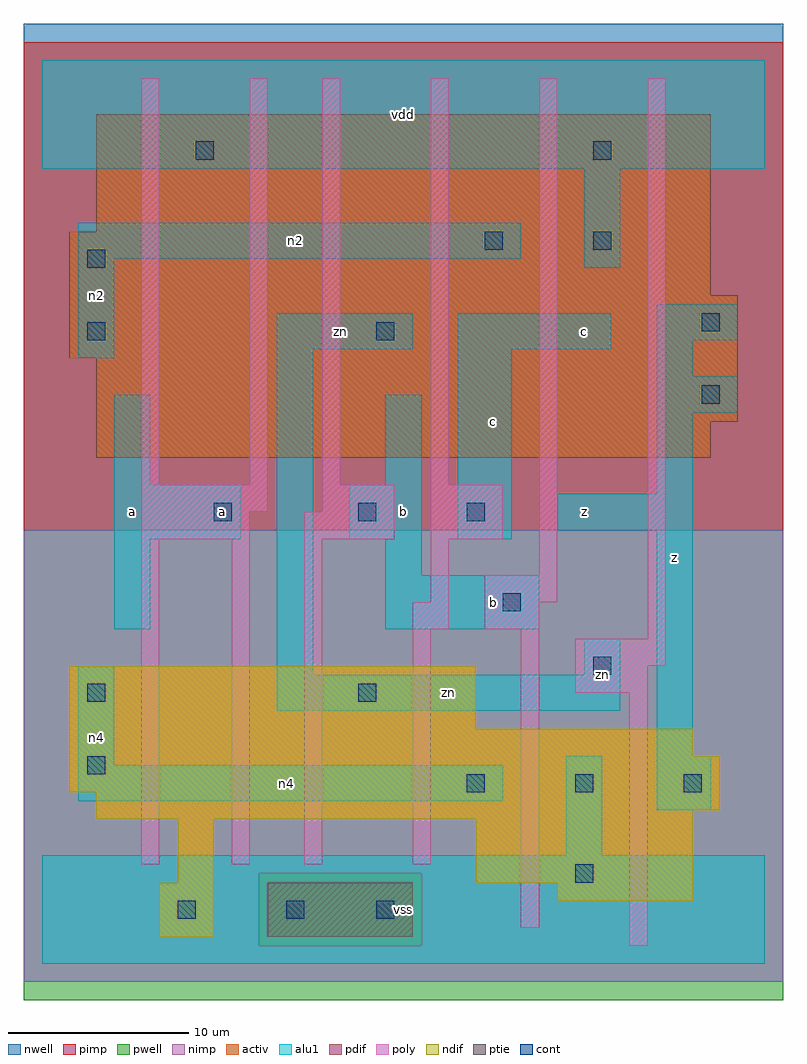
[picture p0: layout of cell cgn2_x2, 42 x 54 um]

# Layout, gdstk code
import gdstk
lib = gdstk.Library(unit=1e-6, precision=1e-09)
def R(c, l, rs):  # rectangles x0, y0, x1, y1
    for r in rs: c.add(gdstk.rectangle(r[:2], r[2:], *l))
def A(c, l, x, y, w, h, nx, ny, dx, dy):  # array of equal rectangles
    R(c, l, [(x+i*dx, y+j*dy, x+i*dx+w, y+j*dy+h) for i in range(nx) for j in range(ny)])
ndif = (3, 0)
pdif = (4, 0)
ptie = (6, 0)
cont = (25, 0)
pwell = (41, 0)
nwell = (42, 0)
activ = (43, 0)
pimp = (44, 0)
nimp = (45, 0)
poly = (46, 0)
alu1 = (49, 0)

cgn2_x2 = lib.new_cell('cgn2_x2')
R(cgn2_x2, ndif, [(6.5,1.5,9.5,4.5), (28.5,3.5,36,4.5), (7.5,4.5,9.5,8), (24,4.5,36,8), (3,8,36,8.5), (3,8.5,37.5,9.5), (1.5,9.5,37.5,11.5), (1.5,11.5,36,13), (1.5,13,24,16.5)])
R(cgn2_x2, pdif, [(3,28,37,30), (3,30,38.5,33.5), (1.5,33.5,38.5,37), (1.5,37,37,40.5), (3,40.5,37,47)])
R(cgn2_x2, ptie, [(12.5,1.5,20.5,4.5)])
A(cgn2_x2, cont, 23.5, 9.5, 1, 1, 3, 1, 6, 0)
R(cgn2_x2, cont, [(7.5,2.5,8.5,3.5), (13.5,2.5,14.5,3.5), (18.5,2.5,19.5,3.5), (29.5,4.5,30.5,5.5), (2.5,10.5,3.5,11.5), (2.5,14.5,3.5,15.5), (17.5,14.5,18.5,15.5), (30.5,16,31.5,17), (25.5,19.5,26.5,20.5), (9.5,24.5,10.5,25.5), (17.5,24.5,18.5,25.5), (23.5,24.5,24.5,25.5), (36.5,31,37.5,32), (2.5,34.5,3.5,35.5), (18.5,34.5,19.5,35.5), (36.5,35,37.5,36), (2.5,38.5,3.5,39.5), (24.5,39.5,25.5,40.5), (30.5,39.5,31.5,40.5), (8.5,44.5,9.5,45.5), (30.5,44.5,31.5,45.5)])
R(cgn2_x2, pwell, [(-1,-2,41,24)])
R(cgn2_x2, nwell, [(-1,24,41,52)])
R(cgn2_x2, activ, [(6.5,1.5,9.5,4.5), (12.5,1.5,20.5,4.5), (28.5,3.5,36,4.5), (7.5,4.5,9.5,8), (24,4.5,36,8), (3,8,36,8.5), (3,8.5,37.5,9.5), (1.5,9.5,37.5,11.5), (1.5,11.5,36,13), (1.5,13,24,16.5), (3,28,37,30), (3,30,38.5,33.5), (1.5,33.5,38.5,37), (1.5,37,37,40.5), (3,40.5,37,47)])
R(cgn2_x2, pimp, [(12,1,21,5), (-1,24,41,51)])
R(cgn2_x2, nimp, [(-1,-1,41,1), (-1,1,12,5), (21,1,41,5), (-1,5,41,24)])
R(cgn2_x2, poly, [(32.5,1,33.5,15), (26.5,2,27.5,18.5), (5.5,5.5,6.5,23.5), (10.5,5.5,11.5,23.5), (14.5,5.5,15.5,23.5), (20.5,5.5,21.5,18.5), (29.5,15,33.5,16.5), (29.5,16.5,34.5,18), (33.5,18,34.5,49), (20.5,18.5,22.5,20), (24.5,18.5,27.5,20), (21.5,20,22.5,23.5), (24.5,20,28.5,21.5), (27.5,21.5,28.5,49), (5.5,23.5,11.5,25), (14.5,23.5,19.5,25), (21.5,23.5,25.5,26.5), (5.5,25,12.5,26.5), (15.5,25,19.5,26.5), (5.5,26.5,6.5,49), (11.5,26.5,12.5,49), (15.5,26.5,16.5,49), (21.5,26.5,22.5,49)])
R(cgn2_x2, alu1, [(0,0,40,6), (29,6,31,11.5), (34,8.5,37,11.5), (2,9,25.5,11), (2,11,4,16.5), (34,11.5,36,24), (13,14,32,16), (13,16,15,34), (30,16,32,18), (4,18.5,6,23.5), (19,18.5,27.5,21.5), (19,21.5,21,23.5), (4,23.5,11,26.5), (17,23.5,21,26.5), (23,23.5,26,34), (28.5,24,36,26), (34,26,36,30.5), (4,26.5,6,31.5), (19,26.5,21,31.5), (34,30.5,38.5,32.5), (34,32.5,36,34.5), (2,33.5,4,39), (13,34,20.5,36), (23,34,31.5,36), (34,34.5,38.5,36.5), (30,38.5,32,44), (2,39,26.5,41), (0,44,40,50)])
cgn2_x2.add(gdstk.Label('n4', (3,12.5), layer=49, texttype=0))
cgn2_x2.add(gdstk.Label('a', (5,25), layer=49, texttype=0))
cgn2_x2.add(gdstk.Label('n2', (3,37), layer=49, texttype=0))
cgn2_x2.add(gdstk.Label('a', (10,25), layer=49, texttype=0))
cgn2_x2.add(gdstk.Label('vss', (20,3), layer=49, texttype=0))
cgn2_x2.add(gdstk.Label('b', (20,25), layer=49, texttype=0))
cgn2_x2.add(gdstk.Label('zn', (16.5,35), layer=49, texttype=0))
cgn2_x2.add(gdstk.Label('vdd', (20,47), layer=49, texttype=0))
cgn2_x2.add(gdstk.Label('n4', (13.5,10), layer=49, texttype=0))
cgn2_x2.add(gdstk.Label('zn', (22.5,15), layer=49, texttype=0))
cgn2_x2.add(gdstk.Label('zn', (31,16), layer=49, texttype=0))
cgn2_x2.add(gdstk.Label('b', (25,20), layer=49, texttype=0))
cgn2_x2.add(gdstk.Label('z', (30,25), layer=49, texttype=0))
cgn2_x2.add(gdstk.Label('c', (25,30), layer=49, texttype=0))
cgn2_x2.add(gdstk.Label('c', (30,35), layer=49, texttype=0))
cgn2_x2.add(gdstk.Label('n2', (14,40), layer=49, texttype=0))
cgn2_x2.add(gdstk.Label('z', (35,22.5), layer=49, texttype=0))

lib.write_gds('cgn2_x2.gds')
